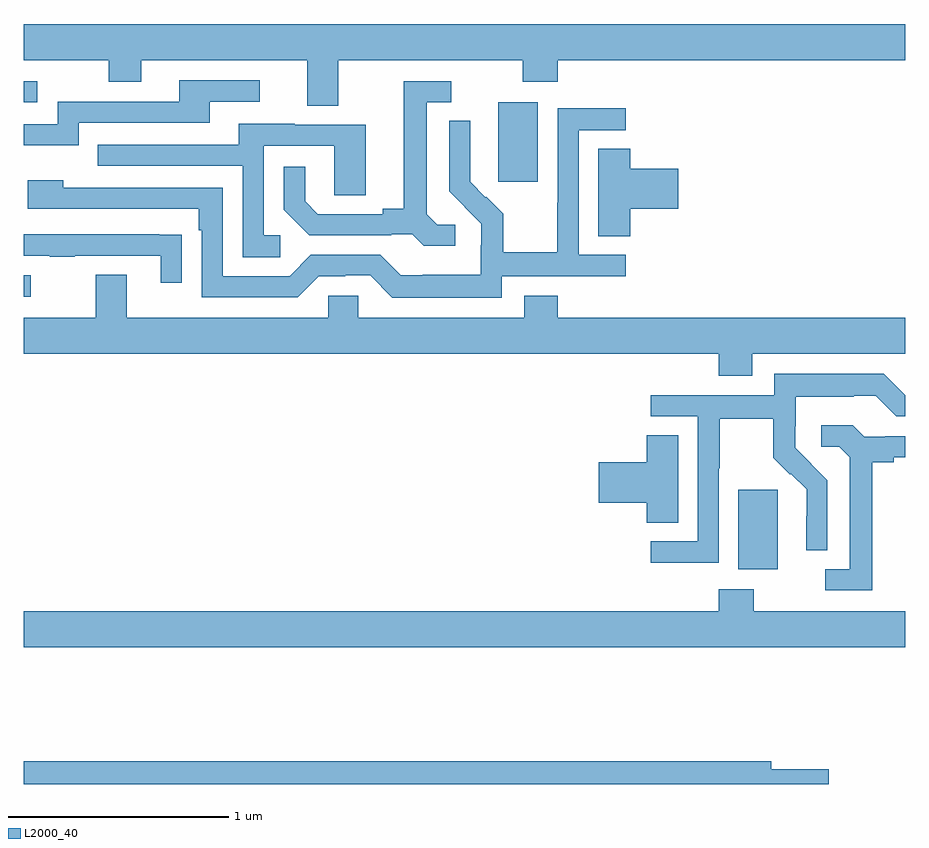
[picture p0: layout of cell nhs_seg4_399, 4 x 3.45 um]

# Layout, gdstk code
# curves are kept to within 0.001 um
import gdstk
lib = gdstk.Library(unit=1e-6, precision=1e-09)
def R(c, l, rs):  # rectangles x0, y0, x1, y1
    for r in rs: c.add(gdstk.rectangle(r[:2], r[2:], *l))
def P(c, l, *ps):  # polygons
    for p in ps: c.add(gdstk.Polygon(p, *l))
L2000_40 = (2000, 40)

nhs_seg4_399 = lib.new_cell('nhs_seg4_399')
R(nhs_seg4_399, L2000_40, [(134.243,763.874,134.422,764.235), (131,765.111,131.032,765.207), (133.154,765.633,133.333,765.994), (131,765.993,131.062,766.089)])
P(nhs_seg4_399, L2000_40, [(132.427,766.184),(133.264,766.184),(133.264,766.085),(133.424,766.085),(133.424,766.184),(135,766.184),(135,766.348),(131,766.348),(131,766.184),(131.386,766.184),(131.386,766.085),(131.533,766.085),(131.533,766.184),(132.287,766.184),(132.287,765.976),(132.427,765.976)],
  [(131.25,765.9),(131.845,765.9),(131.845,765.996),(132.07,765.996),(132.07,766.092),(131.705,766.092),(131.705,765.996),(131.154,765.996),(131.154,765.894),(131,765.894),(131,765.797),(131.25,765.797)],
  [(132.958,765.438),(132.876,765.438),(132.829,765.485),(132.829,765.993),(132.94,765.993),(132.94,766.089),(132.725,766.089),(132.725,765.509),(132.629,765.509),(132.629,765.486),(132.334,765.486),(132.277,765.543),(132.277,765.7),(132.18,765.7),(132.18,765.506),(132.296,765.39),(132.668,765.39),(132.668,765.393),(132.762,765.393),(132.814,765.341),(132.958,765.341)],
  [(133.17,765.204),(133.732,765.204),(133.732,765.3),(133.518,765.3),(133.518,765.867),(133.732,765.867),(133.732,765.966),(133.422,765.966),(133.422,765.536),(133.42,765.536),(133.42,765.313),(133.175,765.313),(133.175,765.487),(133.098,765.564),(133.095,765.561),(133.025,765.632),(133.026,765.908),(132.93,765.908),(132.93,765.59),(133.076,765.442),(133.076,765.345),(133.074,765.345),(133.074,765.211),(132.811,765.211),(132.811,765.207),(132.711,765.207),(132.618,765.3),(132.303,765.3),(132.207,765.204),(131.904,765.204),(131.904,765.606),(131.18,765.606),(131.18,765.64),(131.019,765.64),(131.019,765.51),(131.795,765.51),(131.795,765.413),(131.808,765.413),(131.808,765.108),(132.243,765.108),(132.339,765.204),(132.458,765.204),(132.458,765.207),(132.573,765.207),(132.673,765.107),(133.17,765.107)],
  [(132.163,765.39),(132.09,765.39),(132.09,765.795),(132.408,765.795),(132.408,765.571),(132.553,765.571),(132.553,765.891),(132.229,765.891),(132.229,765.895),(131.975,765.895),(131.975,765.801),(131.335,765.801),(131.335,765.705),(131.994,765.705),(131.994,765.289),(132.163,765.289)],
  [(133.751,765.509),(133.969,765.509),(133.969,765.692),(133.751,765.692),(133.751,765.782),(133.607,765.782),(133.607,765.385),(133.751,765.385)],
  [(131.717,765.392),(131.615,765.392),(131.615,765.393),(131,765.393),(131,765.297),(131.119,765.297),(131.119,765.292),(131.231,765.292),(131.231,765.297),(131.621,765.297),(131.621,765.174),(131.717,765.174)],
  [(134.305,764.852),(135,764.852),(135,765.016),(133.424,765.016),(133.424,765.115),(133.271,765.115),(133.271,765.016),(132.519,765.016),(132.519,765.114),(132.381,765.114),(132.381,765.016),(131.467,765.016),(131.467,765.211),(131.327,765.211),(131.327,765.016),(131,765.016),(131,764.852),(134.153,764.852),(134.153,764.753),(134.305,764.753)],
  [(134.154,764.332),(134.157,764.332),(134.157,764.556),(134.401,764.556),(134.401,764.381),(134.478,764.304),(134.481,764.307),(134.552,764.237),(134.552,764.114),(134.55,764.114),(134.55,763.96),(134.646,763.96),(134.646,764.278),(134.5,764.426),(134.5,764.523),(134.502,764.523),(134.502,764.657),(134.765,764.657),(134.765,764.661),(134.865,764.661),(134.958,764.568),(135,764.568),(135,764.664),(134.903,764.761),(134.406,764.761),(134.406,764.664),(133.845,764.664),(133.845,764.568),(134.058,764.568),(134.058,764.001),(133.845,764.001),(133.845,763.903),(134.154,763.903)],
  [(134.851,764.36),(134.947,764.36),(134.947,764.382),(135,764.382),(135,764.478),(134.908,764.478),(134.908,764.475),(134.814,764.475),(134.762,764.527),(134.619,764.527),(134.619,764.43),(134.7,764.43),(134.747,764.383),(134.747,763.875),(134.637,763.875),(134.637,763.779),(134.851,763.779)],
  [(133.969,764.483),(133.826,764.483),(133.826,764.36),(133.608,764.36),(133.608,764.177),(133.826,764.177),(133.826,764.086),(133.969,764.086)],
  [(135,763.684),(134.313,763.684),(134.313,763.783),(134.153,763.783),(134.153,763.684),(131,763.684),(131,763.52),(135,763.52)],
  [(134.653,762.968),(134.392,762.968),(134.392,763.004),(131,763.004),(131,762.9),(134.653,762.9)])

lib.write_gds('nhs_seg4_399.gds')
